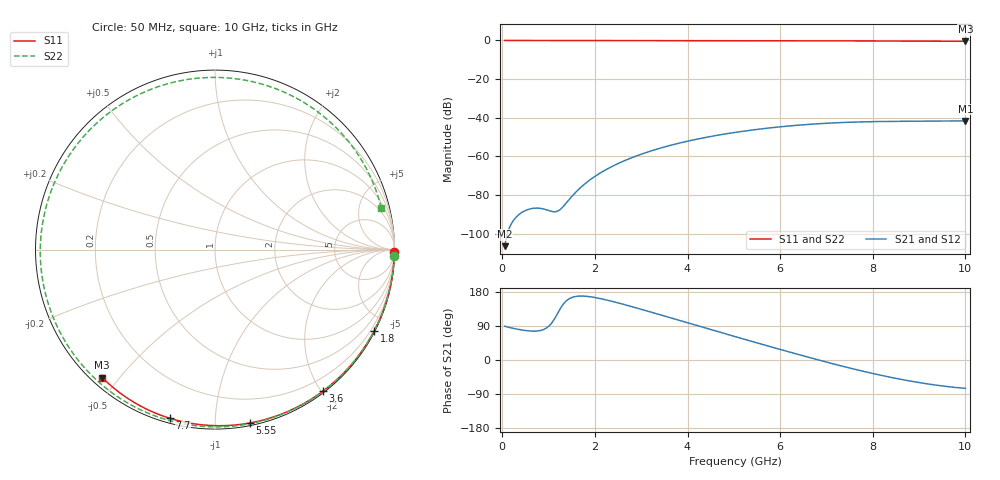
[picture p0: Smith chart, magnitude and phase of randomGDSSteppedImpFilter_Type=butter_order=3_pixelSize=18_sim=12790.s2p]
! freq	dB(S11)	phase(S11)	dB(S12)	phase(S12)
!  dB(S21)	phase(S21)	dB(S22)	phase(S22)
!S-par simulation data
#  GHz  S  DB  R 50
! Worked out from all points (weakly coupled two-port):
!   200 points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, 50 MHz to 10 GHz, reference 50 ohm
!   highest |S21| = -41.61 dB at 10 GHz (marker M1); lowest = -106.5 dB at 50 MHz (marker M2)
!   lowest |S11| = -0.4 dB at 10 GHz (marker M3), VSWR 39.16, Z = 1.54 - j22.6 ohm
!   |S11| at or under -10 dB: nowhere
!   |S22| runs from -0.4 to 0.0 dB; largest |S21 - S12| = 0
!   S11 on the Smith chart (normalised r, x): 50 MHz: open; 1.8 GHz: 0.04, -4.18; 3.6 GHz: 0.02, -2.02; 5.55 GHz: 0.02, -1.22; 7.7 GHz: 0.02, -0.77; 10 GHz: 0.03, -0.45
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0.05  -0.00 -0.8  -106.45 89.1  -106.45 89.1  -0.00 -2.1
0.35  -0.01 -5.3  -90.27 80.7  -90.27 80.7  -0.02 -14.3
0.7  -0.01 -10.6  -86.79 76.1  -86.79 76.1  -0.04 -28.5
1.1  -0.02 -16.6  -88.62 103.2  -88.62 103.2  -0.06 -44.4
1.5  -0.03 -22.5  -80.76 164.8  -80.76 164.8  -0.08 -59.9
1.75  -0.03 -26.2  -74.86 168.7  -74.86 168.7  -0.09 -69.3
1.8  -0.03 -26.9  -73.86 168.3  -73.86 168.3  -0.09 -71.2
2.1  -0.04 -31.3  -68.80 162.5  -68.80 162.5  -0.10 -82.3
2.5  -0.05 -37.1  -63.69 150.7  -63.69 150.7  -0.11 -96.6
2.95  -0.06 -43.5  -59.29 135.6  -59.29 135.6  -0.13 -112.2
3.4  -0.07 -49.9  -55.80 119.7  -55.80 119.7  -0.15 -127.3
3.6  -0.07 -52.6  -54.47 112.5  -54.47 112.5  -0.16 -134.0
4.35  -0.09 -62.9  -50.37 85.7  -50.37 85.7  -0.20 -158.3
5.05  -0.11 -72.2  -47.50 60.9  -47.50 60.9  -0.24 179.4
5.55  -0.13 -78.6  -45.88 43.4  -45.88 43.4  -0.26 163.3
6.1  -0.15 -85.6  -44.45 24.5  -44.45 24.5  -0.29 145.4
6.7  -0.18 -93.0  -43.28 4.3  -43.28 4.3  -0.32 125.5
7.2  -0.21 -99.1  -42.61 -11.9  -42.61 -11.9  -0.34 108.6
7.7  -0.24 -105.0  -42.17 -27.1  -42.17 -27.1  -0.36 91.4
8.35  -0.29 -112.6  -41.89 -44.8  -41.89 -44.8  -0.37 68.9
9.2  -0.36 -122.3  -41.78 -63.4  -41.78 -63.4  -0.38 39.9
10  -0.44 -131.4  -41.61 -74.9  -41.61 -74.9  -0.40 14.0
